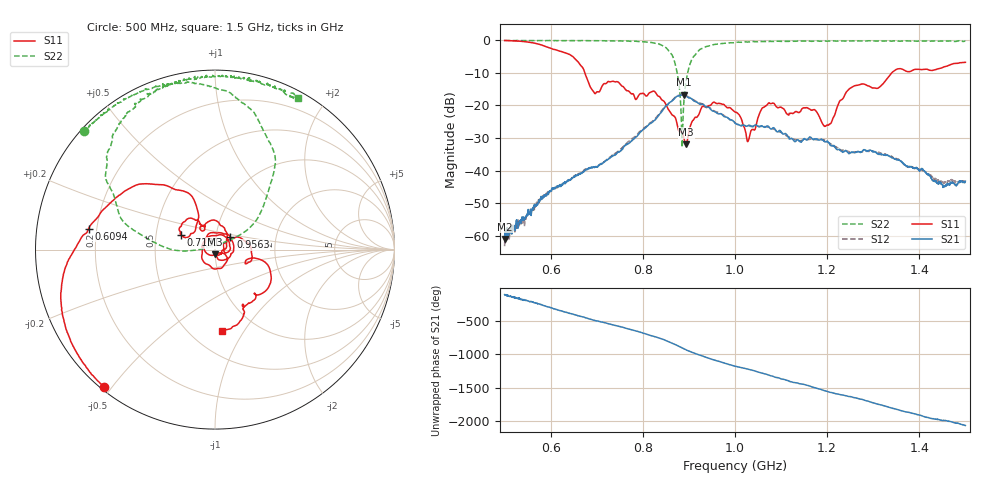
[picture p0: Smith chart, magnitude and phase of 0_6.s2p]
!Agilent Technologies,E8364B,US42250235,A.06.04.32
!Agilent E8364B: A.06.04.32
!Date: Friday, January 15, 2021 13:50:57
!Correction: S11(Full 2 Port(1,2)) S21(Full 2 Port(1,2)) S12(Full 2 Port(1,2)) S22(Full 2 Port(1,2))
!S2P File: Measurements: S11, S21, S12, S22:
# Hz S  dB  R 50
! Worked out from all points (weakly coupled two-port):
!   1601 points, 500 MHz to 1.5 GHz, reference 50 ohm
!   highest |S21| = -16.73 dB at 888.8 MHz (marker M1); lowest = -60.9 dB at 501.2 MHz (marker M2)
!   lowest |S11| = -31.9 dB at 893.8 MHz (marker M3), VSWR 1.05, Z = 49.9 - j2.53 ohm
!   |S11| at or under -10 dB: 674 MHz to 1.341 GHz (666.6 MHz wide, 66.2 % of centre)
!   |S22| runs from -32.8 to -0.1 dB; largest |S21 - S12| = 0.0076
!   S11 on the Smith chart (normalised r, x): 500 MHz: 0.01, -0.48; 609.4 MHz: 0.17, +0.08; 713.1 MHz: 0.67, +0.11; 956.2 MHz: 1.17, +0.17; 1.5 GHz: 0.70, -0.80
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5e8  -0.15 -129.1  -57.77 -109.1  -63.11 -111.2  -0.16 137.8
5.0125e8  -0.16 -129.5  -60.91 -117.4  -62.61 -121.1  -0.17 137.7
5.6125e8  -0.86 -161.1  -51.37 136.1  -51.65 144.3  -0.16 132.6
6.09375e8  -2.93 170.6  -45.39 35.1  -45.39 34.7  -0.18 127.1
6.66875e8  -8.02 123.0  -40.79 -78.3  -40.78 -80.6  -0.18 121.2
6.93125e8  -15.82 131.1  -38.78 -132.4  -38.97 -132.7  -0.21 118.1
7.13125e8  -13.77 157.1  -37.66 -163.8  -37.55 -163.9  -0.21 115.8
8.3375e8  -17.23 76.3  -23.22 -35.2  -22.92 -38.3  -1.16 84.2
8.65625e8  -23.08 23.1  -18.40 -121.7  -18.19 -123.9  -5.27 53.0
8.83125e8  -27.94 -29.8  -16.85 -178.9  -16.76 178.5  -22.83 36.5
8.8875e8  -29.78 -72.3  -16.73 161.5  -16.66 159.1  -19.45 -178.7
8.9375e8  -31.92 -90.9  -17.09 143.7  -17.00 141.8  -12.64 -179.7
9.11875e8  -23.97 171.8  -18.75 93.1  -18.46 91.2  -4.80 159.0
9.5625e8  -19.11 39.4  -21.93 -10.9  -21.81 -13.9  -1.35 131.6
1e9  -22.03 -44.4  -25.45 -100.7  -25.33 -103.3  -0.80 119.1
1.02875e9  -30.74 -44.0  -26.19 -144.8  -26.29 -149.3  -0.64 115.2
1.0725e9  -19.33 -68.4  -26.43 126.3  -26.65 125.3  -0.43 107.8
1.166875e9  -21.47 13.6  -30.13 -51.3  -30.33 -40.4  -0.40 97.0
1.199375e9  -26.05 10.5  -31.09 -114.8  -31.10 -108.2  -0.35 93.7
1.24875e9  -14.87 13.8  -34.68 165.4  -34.27 170.9  -0.29 88.7
1.33375e9  -11.21 -13.1  -35.47 7.0  -35.32 15.0  -0.26 80.6
1.5e9  -6.83 -85.2  -43.22 93.6  -43.32 95.4  -0.34 61.2
